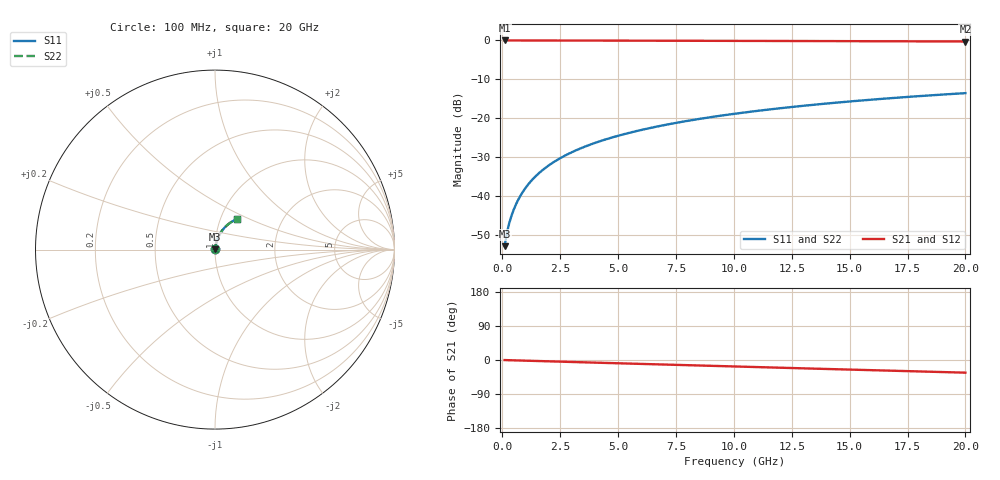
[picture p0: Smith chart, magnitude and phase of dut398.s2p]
! Touchstone file exported from HFSS 2026.1.0
!  File:  C:/ffzhzh/LocalFiles/Ansys_Project_Files/temp_train_TMRDL_398_1783004857_4048.aedt
!  Generated:  11:08:58 PM Jul  2, 2026
!  Design:  TMRDL
!  Project:  temp_train_TMRDL_398_1783004857_4048
! Variables:
!  h_bsmrdl = 2um
!  h_ox = 20um
!  h_rdl = 5um
!  h_sub = 80um
!  h_tmrdl = 4.7um
!  h_tsv = 80um
!  h_via = 3um
!  l_bsmrdl = 300um
!  l_sub = 934.47um
!  l_tmrdl = 534.47um
!  m_sub = 200um
!  pitch = 42.61um
!  r_tsv = 6um
!  s_tmrdl = 10um
!  w_bsmrdl = 18um
!  w_sub = 500um
!  w_tmrdl = 26.73um
!  x_tsv_center1 = 547.835um
!  x_tsv_center2 = 865.835um
!  x_tsv_center3 = 1427.035um
!  x_tsv_center4 = 1745.035um
!  x_tsv_center5 = 2306.235um
!  x_tsv_center6 = 2624.235um
# GHz S MA R 50.000000
! Terminal data exported
! Port[1] = TM_RDL1_1_T1
! Port[2] = TM_RDL1_1_T2
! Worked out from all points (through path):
!   200 points, 100 MHz to 20 GHz, reference 50 ohm
!   highest |S21| = -0.02 dB at 100 MHz (marker M1); lowest = -0.3 dB at 20 GHz (marker M2)
!   group delay of S21, straight-line fit = 4.63 ps
!   lowest |S11| = -52.8 dB at 100 MHz (marker M3), VSWR 1.00, Z = 50.2 + j0.147 ohm
!   |S11| at or under -10 dB: start of sweep to end of sweep
!   |S22| runs from -52.8 to -13.5 dB; largest |S21 - S12| = 2.7e-15
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0.1  0.002281 40.1  0.9983 -0.2  0.9983 -0.2  0.002281 40.1
! Gamma 0 0 0 0
! Port Impedance 50 0 50 0
0.2  0.003387 55.1  0.9981 -0.4  0.9981 -0.4  0.003387 55.1
0.3  0.00451 62.4  0.9979 -0.5  0.9979 -0.5  0.00451 62.4
0.4  0.005642 67.0  0.9979 -0.7  0.9979 -0.7  0.005642 67.0
0.5  0.006791 70.2  0.9978 -0.9  0.9978 -0.9  0.006791 70.2
0.6  0.007957 72.6  0.9977 -1.1  0.9977 -1.1  0.007957 72.6
0.8  0.01033 75.6  0.9976 -1.4  0.9976 -1.4  0.01033 75.6
1.1  0.01393 78.0  0.9975 -1.9  0.9975 -1.9  0.01393 78.0
1.3  0.01634 78.8  0.9973 -2.3  0.9973 -2.3  0.01634 78.8
1.6  0.01996 79.5  0.9971 -2.8  0.9971 -2.8  0.01996 79.5
2.1  0.02597 79.8  0.9967 -3.7  0.9967 -3.7  0.02597 79.8
2.7  0.03311 79.5  0.9961 -4.7  0.9961 -4.7  0.03311 79.5
3.5  0.04248 78.7  0.9953 -6.1  0.9953 -6.1  0.04248 78.7
4.2  0.05055 77.8  0.9944 -7.3  0.9944 -7.3  0.05055 77.8
5  0.05963 76.7  0.9934 -8.7  0.9934 -8.7  0.05963 76.7
5.9  0.0697 75.5  0.9923 -10.2  0.9923 -10.2  0.0697 75.5
6.8  0.07963 74.1  0.9911 -11.7  0.9911 -11.7  0.07964 74.1
8.3  0.09591 71.9  0.9889 -14.2  0.9889 -14.2  0.09591 71.9
10.1  0.115 69.2  0.9862 -17.2  0.9862 -17.2  0.115 69.2
13.4  0.1487 64.2  0.9807 -22.7  0.9807 -22.7  0.1487 64.2
16.7  0.1806 59.1  0.9745 -28.1  0.9745 -28.1  0.1806 59.1
20  0.2103 54.0  0.9679 -33.4  0.9679 -33.4  0.2103 54.0
